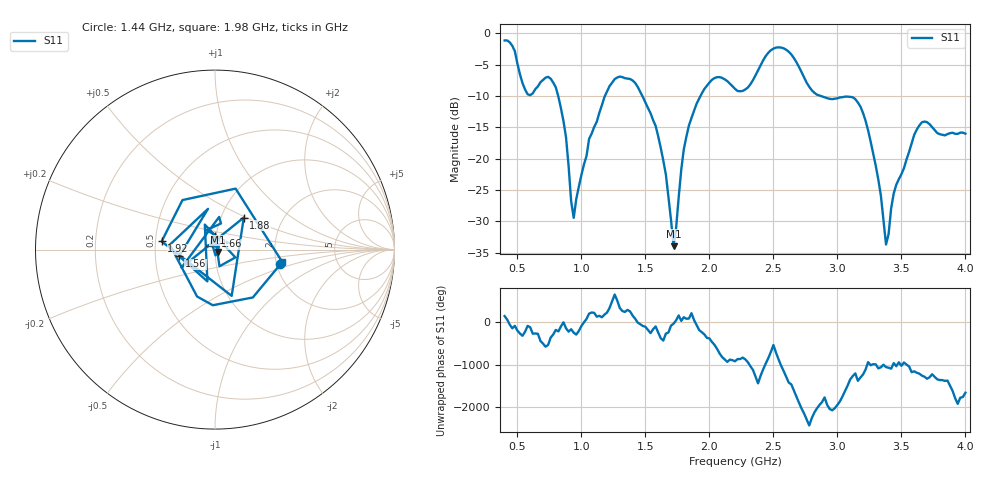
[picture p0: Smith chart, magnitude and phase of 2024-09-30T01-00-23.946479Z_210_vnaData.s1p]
!Created with skrf (http://scikit-rf.org).
# Hz S RI R 50.0
!freq ReS11 ImS11
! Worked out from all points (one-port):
!   181 points, 400 MHz to 4 GHz, reference 50 ohm
!   lowest |S11| = -34.0 dB at 1.72 GHz (marker M1), VSWR 1.04, Z = 51.6 - j1.3 ohm
!   |S11| at or under -10 dB: 818.5 MHz to 1.184 GHz (365.6 MHz wide, 36.5 % of centre); 1.476 GHz to 1.931 GHz (454.9 MHz wide, 26.7 % of centre); 2.869 GHz to end of sweep
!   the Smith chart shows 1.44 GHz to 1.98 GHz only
!   S11 on the Smith chart (normalised r, x): 1.44 GHz: 2.09, -0.40; 1.56 GHz: 0.67, -0.05; 1.66 GHz: 0.99, +0.15; 1.88 GHz: 1.28, +0.49; 1.92 GHz: 0.54, +0.05; 1.98 GHz: 2.16, -0.34
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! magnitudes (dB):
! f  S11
! 400 MHz  -1.2
! 580 MHz  -9.7
! 760 MHz  -7.3
! 860 MHz  -14.0
! 940 MHz  -29.5
! 1.06 GHz  -16.9
! 1.3 GHz  -6.9
! 1.44 GHz  -8.6
! 1.56 GHz  -13.9
! 1.66 GHz  -22.6
! 1.72 GHz  -34.0
! 1.76 GHz  -26.2
! 1.8 GHz  -18.5
! 1.88 GHz  -12.4
! 1.92 GHz  -10.4
! 1.98 GHz  -8.4
! 2.2 GHz  -8.9
! 2.5 GHz  -2.5
! 2.66 GHz  -4.0
! 2.84 GHz  -9.8
! 3.1 GHz  -10.2
! 3.24 GHz  -15.5
! 3.34 GHz  -26.0
! 3.38 GHz  -33.7
! 3.44 GHz  -25.6
! 3.56 GHz  -18.9
! 3.66 GHz  -14.2
! 4 GHz  -16.0
